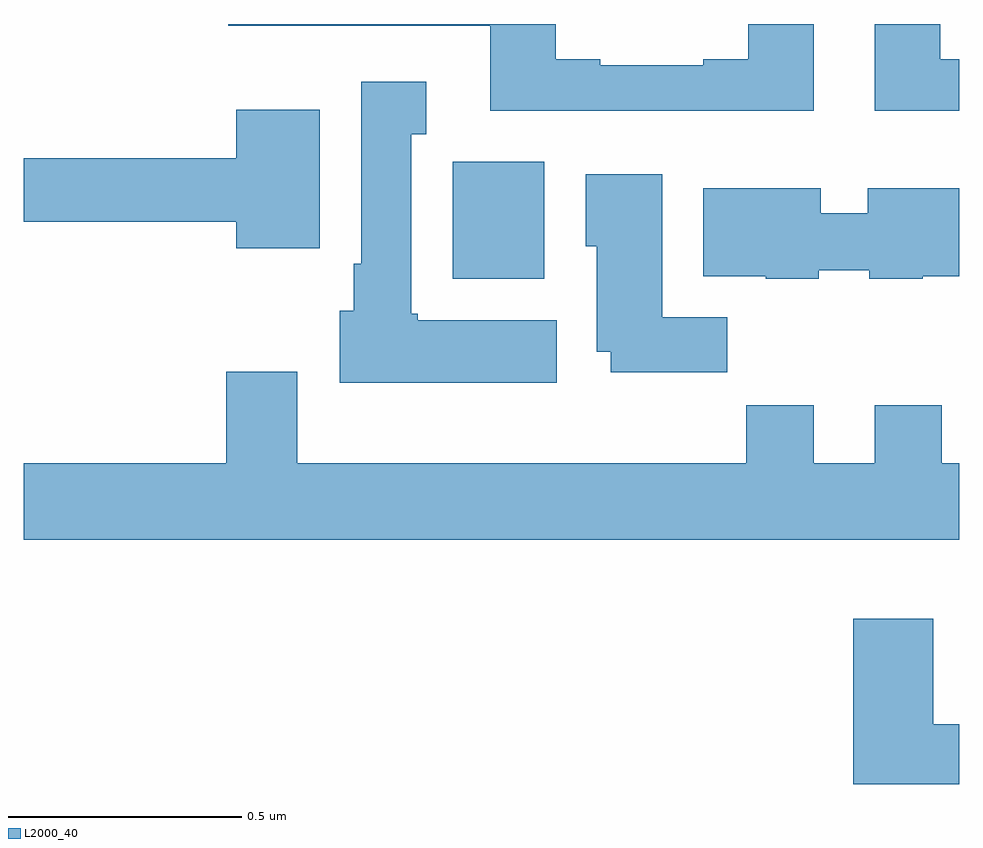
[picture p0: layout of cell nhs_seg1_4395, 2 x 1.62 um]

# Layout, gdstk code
import gdstk
lib = gdstk.Library(unit=1e-6, precision=1e-09)
def R(c, l, rs):  # rectangles x0, y0, x1, y1
    for r in rs: c.add(gdstk.rectangle(r[:2], r[2:], *l))
def P(c, l, *ps):  # polygons
    for p in ps: c.add(gdstk.Polygon(p, *l))
L2000_40 = (2000, 40)

nhs_seg1_4395 = lib.new_cell('nhs_seg1_4395')
R(nhs_seg1_4395, L2000_40, [(166.917,521.654,167.113,521.904)])
P(nhs_seg1_4395, L2000_40, [(167.689,522.199),(167.549,522.199),(167.549,522.124),(167.453,522.124),(167.453,522.111),(167.233,522.111),(167.233,522.124),(167.137,522.124),(167.137,522.199),(166.437,522.199),(166.437,522.195),(166.997,522.195),(166.997,522.014),(167.689,522.014)],
  [(168,522.124),(167.959,522.124),(167.959,522.199),(167.819,522.199),(167.819,522.014),(168,522.014)],
  [(167.14,521.566),(166.842,521.566),(166.842,521.58),(166.828,521.58),(166.828,521.963),(166.861,521.963),(166.861,522.076),(166.721,522.076),(166.721,521.686),(166.706,521.686),(166.706,521.586),(166.676,521.586),(166.676,521.432),(167.14,521.432)],
  [(166.633,522.016),(166.454,522.016),(166.454,521.912),(166,521.912),(166,521.776),(166.454,521.776),(166.454,521.72),(166.633,521.72)],
  [(167.504,521.572),(167.365,521.572),(167.365,521.878),(167.201,521.878),(167.201,521.724),(167.225,521.724),(167.225,521.498),(167.255,521.498),(167.255,521.454),(167.504,521.454)],
  [(167.7,521.672),(167.808,521.672),(167.808,521.654),(167.922,521.654),(167.922,521.66),(168,521.66),(168,521.848),(167.804,521.848),(167.804,521.794),(167.704,521.794),(167.704,521.848),(167.453,521.848),(167.453,521.66),(167.586,521.66),(167.586,521.654),(167.7,521.654)],
  [(168,521.26),(167.963,521.26),(167.963,521.384),(167.819,521.384),(167.819,521.26),(167.689,521.26),(167.689,521.384),(167.545,521.384),(167.545,521.26),(166.585,521.26),(166.585,521.455),(166.433,521.455),(166.433,521.26),(166,521.26),(166,521.096),(168,521.096)],
  [(168,520.702),(167.944,520.702),(167.944,520.927),(167.774,520.927),(167.774,520.574),(168,520.574)])

lib.write_gds('nhs_seg1_4395.gds')
